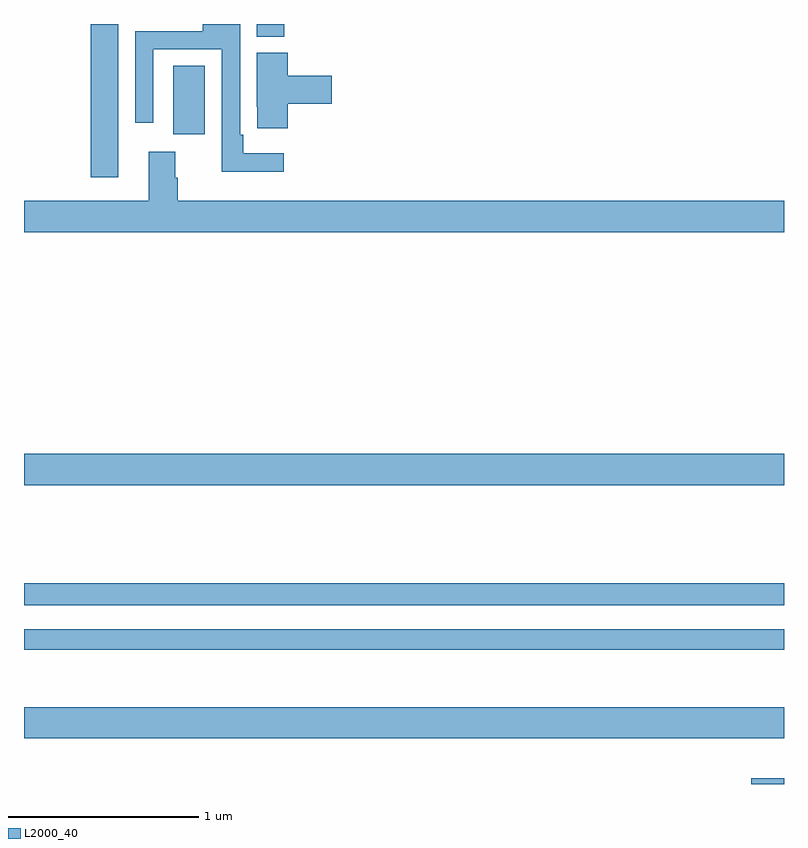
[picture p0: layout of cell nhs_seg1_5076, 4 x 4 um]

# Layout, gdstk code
import gdstk
lib = gdstk.Library(unit=1e-6, precision=1e-09)
def R(c, l, rs):  # rectangles x0, y0, x1, y1
    for r in rs: c.add(gdstk.rectangle(r[:2], r[2:], *l))
def P(c, l, *ps):  # polygons
    for p in ps: c.add(gdstk.Polygon(p, *l))
L2000_40 = (2000, 40)

nhs_seg1_5076 = lib.new_cell('nhs_seg1_5076')
R(nhs_seg1_5076, L2000_40, [(390.828,510.199,391,510.228), (387,510.44,391,510.604), (387,510.906,391,511.014), (387,511.14,391,511.256), (387,511.772,391,511.936), (387.35,513.393,387.496,514.199), (387.785,513.618,387.952,513.98), (388.226,514.132,388.37,514.199)])
P(nhs_seg1_5076, L2000_40, [(388.366,513.52),(388.153,513.52),(388.153,513.616),(388.137,513.616),(388.137,514.199),(387.941,514.199),(387.941,514.161),(387.585,514.161),(387.585,513.678),(387.681,513.678),(387.681,514.065),(388.041,514.065),(388.041,513.422),(388.366,513.422)],
  [(388.388,513.779),(388.621,513.779),(388.621,513.926),(388.388,513.926),(388.388,514.047),(388.226,514.047),(388.226,513.763),(388.227,513.763),(388.227,513.651),(388.388,513.651)],
  [(391,513.268),(387.809,513.268),(387.809,513.389),(387.796,513.389),(387.796,513.526),(387.656,513.526),(387.656,513.268),(387,513.268),(387,513.104),(391,513.104)])

lib.write_gds('nhs_seg1_5076.gds')
